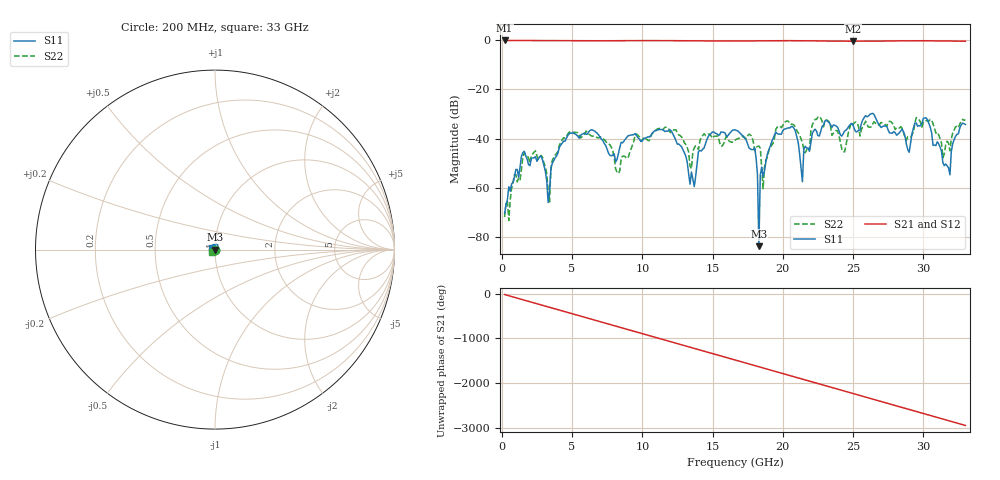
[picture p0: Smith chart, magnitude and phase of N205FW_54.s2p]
# GHZ S RI R 50
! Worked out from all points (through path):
!   329 points, 200 MHz to 33 GHz, reference 50 ohm
!   highest |S21| = -0.01 dB at 200 MHz (marker M1); lowest = -0.3 dB at 25 GHz (marker M2)
!   group delay of S21, straight-line fit = 248 ps
!   lowest |S11| = -83.9 dB at 18.3 GHz (marker M3), VSWR 1.00, Z = 50 - j0.00384 ohm
!   |S11| at or under -10 dB: start of sweep to end of sweep
!   |S22| runs from -73.4 to -31.0 dB; largest |S21 - S12| = 0.0022
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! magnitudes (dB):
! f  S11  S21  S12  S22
! 200 MHz  -70.6  0.0  0.0  -72.0
! 1.6 GHz  -45.2  0.0  0.0  -45.8
! 3.3 GHz  -66.1  -0.1  -0.1  -61.4
! 4.1 GHz  -43.5  -0.1  -0.1  -42.6
! 5.7 GHz  -38.3  -0.1  -0.1  -39.4
! 8.3 GHz  -46.2  -0.1  -0.1  -54.2
! 11.2 GHz  -36.4  -0.1  -0.1  -35.8
! 13.7 GHz  -59.6  -0.2  -0.2  -43.9
! 16.6 GHz  -36.4  -0.2  -0.2  -40.6
! 18 GHz  -43.7  -0.2  -0.2  -44.8
! 18.3 GHz  -83.9  -0.2  -0.2  -43.1
! 18.4 GHz  -54.9  -0.1  -0.1  -44.0
! 18.6 GHz  -55.5  -0.1  -0.2  -60.4
! 19.5 GHz  -37.4  -0.1  -0.1  -36.3
! 20.8 GHz  -35.8  -0.1  -0.1  -34.5
! 21.4 GHz  -57.6  -0.2  -0.2  -41.6
! 22.1 GHz  -37.9  -0.2  -0.2  -34.5
! 25 GHz  -34.5  -0.3  -0.3  -34.3
! 27.6 GHz  -37.7  -0.2  -0.2  -32.9
! 30.2 GHz  -31.6  -0.1  -0.1  -32.7
! 31.9 GHz  -54.8  -0.2  -0.2  -45.0
! 33 GHz  -34.3  -0.3  -0.3  -32.4
